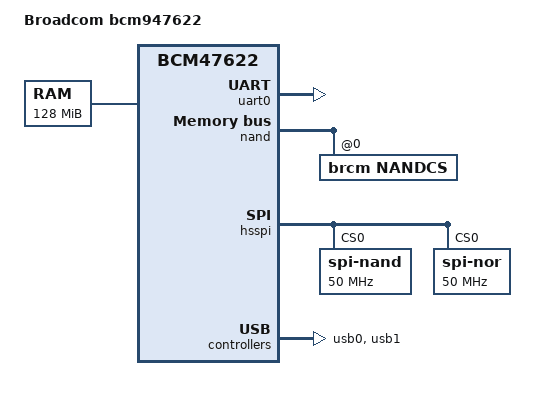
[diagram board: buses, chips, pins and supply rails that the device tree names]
// SPDX-License-Identifier: GPL-2.0+
/*
 * Copyright 2019 Broadcom Ltd.
 */

/dts-v1/;

#include "bcm47622.dtsi"

/ {
	model = "Broadcom bcm947622";
	compatible = "broadcom,bcm947622", "brcm,bcm947622";

	aliases {
		serial0 = &uart0;
		spi1 = &hsspi;
	};

	chosen {
		stdout-path = "serial0:115200n8";
	};

	memory {
		device_type = "memory";
		reg = <0x0 0x08000000>;
	};
};

&uart0 {
	status = "okay";
};

&nand {
	status = "okay";
	write-protect = <0>;
	#address-cells = <1>;
	#size-cells = <0>;

	nandcs@0 {
		compatible = "brcm,nandcs";
		reg = <0>;
	};
};

&hsspi {
	status = "okay";
	spi-nand {
		pinctrl-0 = <&spim_ss0_b_pin_75>;
		pinctrl-names = "default";	
		compatible = "spi-nand";
		reg = <0>;
		#address-cells = <1>;
		#size-cells = <0>;
		u-boot,dm-pre-reloc;				
		spi-max-frequency = <50000000>;
	};
	spi-nor@0 {
		pinctrl-0 = <&spim_ss0_b_pin_75>;
		pinctrl-names = "default";	
		compatible = "jedec,spi-nor";
		reg = <0>;
		#address-cells = <1>;
		#size-cells = <0>;
		spi-max-frequency = <50000000>;
		u-boot,dm-pre-reloc;
	};
};

&usb0 {
	status = "okay";
	pinctrl-0 = <&usb0_pwr_pins>;
	pinctrl-names="default";
};

&usb1 {
	status = "okay";
	pinctrl-0 = <&usb1_pwr_pins>;
	pinctrl-names="default";
};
